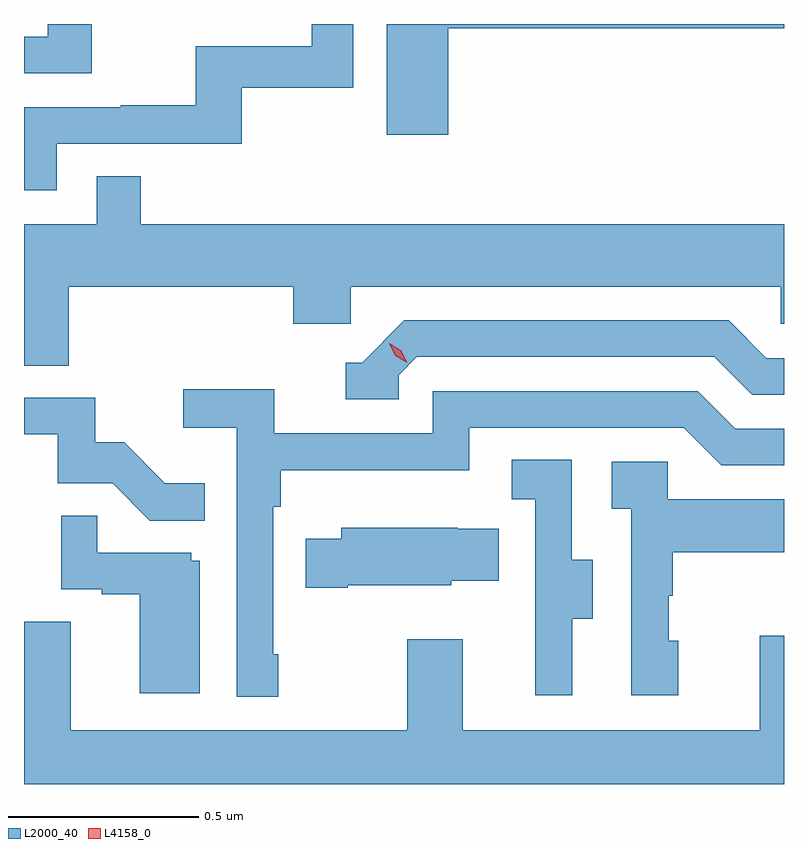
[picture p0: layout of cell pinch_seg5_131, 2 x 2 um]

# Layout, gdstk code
import gdstk
lib = gdstk.Library(unit=1e-6, precision=1e-09)
def P(c, l, *ps):  # polygons
    for p in ps: c.add(gdstk.Polygon(p, *l))
L2000_40 = (2000, 40)
L4158_0 = (4158, 0)

pinch_seg5_131 = lib.new_cell('pinch_seg5_131')
P(pinch_seg5_131, L2000_40, [(1066.982,882.759),(1066.866,882.759),(1066.866,882.726),(1066.804,882.726),(1066.804,882.63),(1066.982,882.63)],
  [(1066.89,882.444),(1067.377,882.444),(1067.377,882.591),(1067.67,882.591),(1067.67,882.759),(1067.561,882.759),(1067.561,882.7),(1067.256,882.7),(1067.256,882.545),(1067.059,882.545),(1067.059,882.54),(1066.804,882.54),(1066.804,882.321),(1066.89,882.321)],
  [(1067.92,882.748),(1068.804,882.748),(1068.804,882.759),(1067.759,882.759),(1067.759,882.468),(1067.92,882.468)],
  [(1066.922,882.068),(1067.513,882.068),(1067.513,881.97),(1067.664,881.97),(1067.664,882.068),(1068.795,882.068),(1068.795,881.97),(1068.804,881.97),(1068.804,882.232),(1067.111,882.232),(1067.111,882.359),(1066.995,882.359),(1066.995,882.232),(1066.804,882.232),(1066.804,881.86),(1066.922,881.86)],
  [(1067.79,881.835),(1067.838,881.883),(1068.621,881.883),(1068.72,881.784),(1068.804,881.784),(1068.804,881.88),(1068.757,881.88),(1068.658,881.979),(1067.805,881.979),(1067.694,881.868),(1067.651,881.868),(1067.651,881.772),(1067.79,881.772)],
  [(1067.473,881.101),(1067.46,881.101),(1067.46,881.489),(1067.48,881.489),(1067.48,881.585),(1067.976,881.585),(1067.976,881.697),(1068.54,881.697),(1068.639,881.598),(1068.804,881.598),(1068.804,881.694),(1068.676,881.694),(1068.577,881.793),(1067.88,881.793),(1067.88,881.682),(1067.462,881.682),(1067.462,881.798),(1067.223,881.798),(1067.223,881.696),(1067.364,881.696),(1067.364,880.989),(1067.473,880.989)],
  [(1067.279,881.551),(1067.175,881.551),(1067.068,881.658),(1066.992,881.658),(1066.992,881.775),(1066.804,881.775),(1066.804,881.679),(1066.893,881.679),(1066.893,881.55),(1067.037,881.55),(1067.135,881.452),(1067.279,881.452)],
  [(1068.247,881.194),(1068.301,881.194),(1068.301,881.349),(1068.246,881.349),(1068.246,881.612),(1068.087,881.612),(1068.087,881.509),(1068.15,881.509),(1068.15,881.205),(1068.149,881.205),(1068.149,880.992),(1068.247,880.992)],
  [(1068.526,881.136),(1068.501,881.136),(1068.501,881.255),(1068.511,881.255),(1068.511,881.369),(1068.804,881.369),(1068.804,881.509),(1068.498,881.509),(1068.498,881.607),(1068.351,881.607),(1068.351,881.483),(1068.402,881.483),(1068.402,880.992),(1068.526,880.992)],
  [(1067.266,881.346),(1067.244,881.346),(1067.244,881.367),(1066.997,881.367),(1066.997,881.465),(1066.902,881.465),(1066.902,881.271),(1067.009,881.271),(1067.009,881.259),(1067.108,881.259),(1067.108,880.998),(1067.266,880.998)],
  [(1067.656,881.282),(1067.928,881.282),(1067.928,881.294),(1068.053,881.294),(1068.053,881.431),(1067.945,881.431),(1067.945,881.434),(1067.639,881.434),(1067.639,881.404),(1067.545,881.404),(1067.545,881.275),(1067.656,881.275)],
  [(1068.804,881.149),(1068.74,881.149),(1068.74,880.9),(1067.959,880.9),(1067.959,881.14),(1067.812,881.14),(1067.812,880.9),(1066.927,880.9),(1066.927,881.186),(1066.804,881.186),(1066.804,880.759),(1068.804,880.759)])
P(pinch_seg5_131, L4158_0, [(1067.812,881.867),(1067.781,881.886),(1067.765,881.919),(1067.765,881.919),(1067.765,881.919),(1067.796,881.9),(1067.812,881.868),(1067.812,881.867)])

lib.write_gds('pinch_seg5_131.gds')
